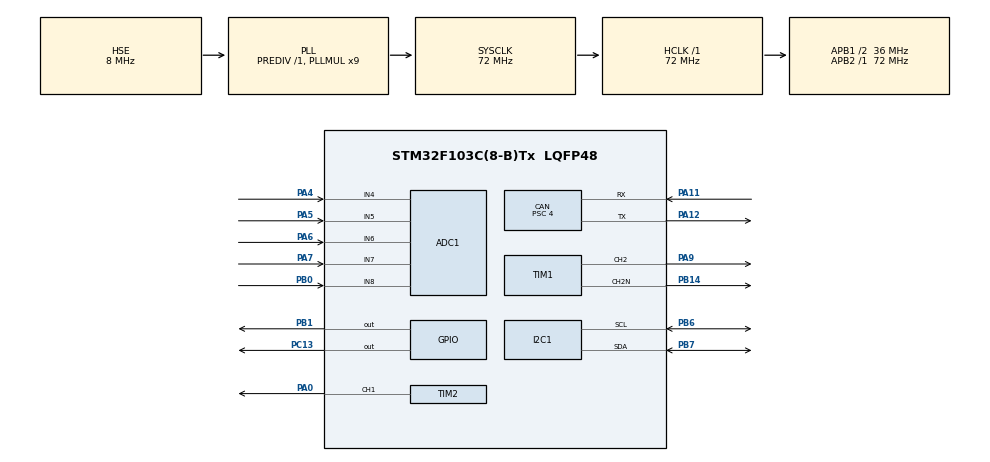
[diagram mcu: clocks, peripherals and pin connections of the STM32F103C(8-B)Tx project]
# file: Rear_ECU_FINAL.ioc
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ADC1.Channel-0\#ChannelRegularConversion=ADC_CHANNEL_4
ADC1.Channel-1\#ChannelRegularConversion=ADC_CHANNEL_4
ADC1.Channel-2\#ChannelRegularConversion=ADC_CHANNEL_4
ADC1.Channel-3\#ChannelRegularConversion=ADC_CHANNEL_4
ADC1.Channel-4\#ChannelRegularConversion=ADC_CHANNEL_4
ADC1.NbrOfConversion=5
ADC1.NbrOfConversionFlag=1
ADC1.Rank-0\#ChannelRegularConversion=1
ADC1.Rank-1\#ChannelRegularConversion=2
ADC1.Rank-2\#ChannelRegularConversion=3
ADC1.Rank-3\#ChannelRegularConversion=4
ADC1.Rank-4\#ChannelRegularConversion=5
ADC1.SamplingTime-0\#ChannelRegularConversion=ADC_SAMPLETIME_1CYCLE_5
ADC1.SamplingTime-1\#ChannelRegularConversion=ADC_SAMPLETIME_1CYCLE_5
ADC1.SamplingTime-2\#ChannelRegularConversion=ADC_SAMPLETIME_1CYCLE_5
ADC1.SamplingTime-3\#ChannelRegularConversion=ADC_SAMPLETIME_1CYCLE_5
ADC1.SamplingTime-4\#ChannelRegularConversion=ADC_SAMPLETIME_1CYCLE_5
ADC1.master=1
CAN.BS1=CAN_BS1_15TQ
CAN.BS2=CAN_BS2_2TQ
CAN.CalculateBaudRate=500000
CAN.CalculateTimeBit=2000
CAN.CalculateTimeQuantum=111.11111111111111
CAN.Prescaler=4
Dma.I2C1_RX.0.Direction=DMA_PERIPH_TO_MEMORY
Dma.I2C1_RX.0.Instance=DMA1_Channel7
Dma.I2C1_RX.0.MemDataAlignment=DMA_MDATAALIGN_BYTE
Dma.I2C1_RX.0.MemInc=DMA_MINC_ENABLE
Dma.I2C1_RX.0.Mode=DMA_NORMAL
Dma.I2C1_RX.0.PeriphDataAlignment=DMA_PDATAALIGN_BYTE
Dma.I2C1_RX.0.PeriphInc=DMA_PINC_DISABLE
Dma.I2C1_RX.0.Priority=DMA_PRIORITY_LOW
Dma.I2C1_TX.1.Direction=DMA_MEMORY_TO_PERIPH
Dma.I2C1_TX.1.Instance=DMA1_Channel6
Dma.I2C1_TX.1.MemDataAlignment=DMA_MDATAALIGN_BYTE
Dma.I2C1_TX.1.MemInc=DMA_MINC_ENABLE
Dma.I2C1_TX.1.Mode=DMA_NORMAL
Dma.I2C1_TX.1.PeriphDataAlignment=DMA_PDATAALIGN_BYTE
Dma.I2C1_TX.1.PeriphInc=DMA_PINC_DISABLE
Dma.I2C1_TX.1.Priority=DMA_PRIORITY_LOW
Dma.Request0=I2C1_RX
Dma.Request1=I2C1_TX
Mcu.Family=STM32F1
Mcu.Name=STM32F103C(8-B)Tx
Mcu.Package=LQFP48
NVIC.DMA1_Channel6_IRQn=true\:0\:0\:false\:false\:true\:false\:true\:true
NVIC.DMA1_Channel7_IRQn=true\:0\:0\:false\:false\:true\:false\:true\:true
NVIC.PriorityGroup=NVIC_PRIORITYGROUP_4
PA0-WKUP.Signal=S_TIM2_CH1_ETR
PA11.Mode=CAN_Activate
PA11.Signal=CAN_RX
PA12.Mode=CAN_Activate
PA12.Signal=CAN_TX
PA13.Mode=Serial_Wire
PA13.Signal=SYS_JTMS-SWDIO
PA14.Mode=Serial_Wire
PA14.Signal=SYS_JTCK-SWCLK
PA4.Signal=ADCx_IN4
PA5.Signal=ADCx_IN5
PA6.Signal=ADCx_IN6
PA7.Signal=ADCx_IN7
PA9.Signal=S_TIM1_CH2
PB0.Signal=ADCx_IN8
PB1.Signal=GPIO_Output
PB14.Mode=PWM Generation2 CH2 CH2N
PB14.Signal=TIM1_CH2N
PB6.Mode=I2C
PB6.Signal=I2C1_SCL
PB7.Mode=I2C
PB7.Signal=I2C1_SDA
PC13-TAMPER-RTC.Signal=GPIO_Output
PD0-OSC_IN.Mode=HSE-External-Oscillator
PD0-OSC_IN.Signal=RCC_OSC_IN
PD1-OSC_OUT.Mode=HSE-External-Oscillator
PD1-OSC_OUT.Signal=RCC_OSC_OUT
ProjectManager.HeapSize=0x200
ProjectManager.StackSize=0x400
ProjectManager.TargetToolchain=STM32CubeIDE
RCC.ADCPresc=RCC_ADCPCLK2_DIV6
RCC.AHBFreq_Value=72000000
RCC.APB1CLKDivider=RCC_HCLK_DIV2
RCC.APB1Freq_Value=36000000
RCC.APB1TimFreq_Value=72000000
RCC.APB2Freq_Value=72000000
RCC.APB2TimFreq_Value=72000000
RCC.HCLKFreq_Value=72000000
RCC.PLLMUL=RCC_PLL_MUL9
RCC.PLLSourceVirtual=RCC_PLLSOURCE_HSE
RCC.SYSCLKFreq_VALUE=72000000
RCC.SYSCLKSource=RCC_SYSCLKSOURCE_PLLCLK
RCC.USBFreq_Value=72000000
SH.ADCx_IN4.0=ADC1_IN4,IN4
SH.ADCx_IN5.0=ADC1_IN5,IN5
SH.ADCx_IN6.0=ADC1_IN6,IN6
SH.ADCx_IN7.0=ADC1_IN7,IN7
SH.ADCx_IN8.0=ADC1_IN8,IN8
SH.S_TIM1_CH2.0=TIM1_CH2,PWM Generation2 CH2 CH2N
SH.S_TIM2_CH1_ETR.0=TIM2_CH1,PWM Generation1 CH1
TIM1.Channel-PWM\ Generation2\ CH2\ CH2N=TIM_CHANNEL_2
TIM2.Channel-PWM\ Generation1\ CH1=TIM_CHANNEL_1
board=custom

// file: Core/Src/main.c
/* USER CODE BEGIN Header */
/**
  ******************************************************************************
  * @file           : main.c
  * @brief          : Main program body
  ******************************************************************************
  * @attention
  *
  * Copyright (c) 2026 STMicroelectronics.
  * All rights reserved.
  *
  * This software is licensed under terms that can be found in the LICENSE file
  * in the root directory of this software component.
  * If no LICENSE file comes with this software, it is provided AS-IS.
  *
  ******************************************************************************
  */
/* USER CODE END Header */
#include "main.h"
#include <math.h>

/* USER CODE BEGIN PD */
//===============I2C=========
#define MPU6050_ADDR   (0x68 << 1)  // HAL wants 8-bit address
#define PWR_MGMT_1     0x6B
#define SMPLRT_DIV     0x19
#define CONFIG_REG     0x1A
#define GYRO_CONFIG    0x1B
#define ACCEL_CONFIG   0x1C
#define WHO_AM_I       0x75
#define ACCEL_XOUT_H   0x3B

#define MLX90614_ADDR1   (0x5A << 1)  // HAL wants 8-bit address
#define MLX90614_ADDR2   (0x5B << 1)
#define MLX90614_TA      0x06         // ambient temp
#define MLX90614_TOBJ1   0x07
//===============I2C=========

//================Thermals=============
#define ADC_BUFF_SIZE 5
#define ADC_BRAKE_INDEX 0

#define Brake_pedal_threshold 150

#define ADC_THERM1_INDEX 1
#define ADC_THERM2_INDEX 2
#define ADC_THERM3_INDEX 3
#define ADC_THERM4_INDEX 4
#define ADC_MAX_VAL 4095      // 12-bit ADC resolution
#define TEMP_MAX_VAL 100.0f      // Max expected stator temp in degrees
#define MDOT_MAX_VAL 0.267f      // Max mass flow rate in kg/s
#define PWM_PERIOD 59999       // PWM Period
#define Table_Size 10
//===============Thermals============
/* USER CODE END PD */

ADC_HandleTypeDef hadc1;

CAN_HandleTypeDef hcan;

I2C_HandleTypeDef hi2c1;
DMA_HandleTypeDef hdma_i2c1_rx;
DMA_HandleTypeDef hdma_i2c1_tx;

TIM_HandleTypeDef htim1;
TIM_HandleTypeDef htim2;

/* USER CODE BEGIN PV */
//===============================I2C=================
int16_t mpu_buf[6];
float temp_ambient1, temp_obj1;
float temp_ambient2, temp_obj2;
//===============================I2C=================

//=============CAN==================

CAN_TxHeaderTypeDef TxHeader;
CAN_RxHeaderTypeDef RxHeader;
uint8_t TxData[8];
uint8_t RxData[8];
uint32_t TxMailbox;
volatile uint32_t echo_count = 0;
volatile uint16_t rpm=0, speed=0;
uint16_t arr_rpm=0;
uint16_t ccr_speed=0;
uint16_t arr_speed=0;
uint16_t ccr_rpm=0;

//====================CAN===========

//Thermals==============================
uint16_t adc_buff[ADC_BUFF_SIZE];
volatile uint16_t adc_val=0;
float voltage=0.0f;
float temp[4];

const float temp_breakpoints[Table_Size] = {0, 50, 55, 60, 65, 70, 75, 80, 85, 90};
const float mdot_data[Table_Size] = {0, 0.005, 0.01, 0.03, 0.06, 0.08, 0.1, 0.1, 0.15, 0.15};

// --- GLOBAL VARIABLES ---
volatile uint32_t adc_raw_value = 0;
float stator_temp = 0.0f;
float target_mdot = 0.0f;
uint32_t pwm_duty_cycle = 0;
//Thermals==========================

/* USER CODE END PV */

void SystemClock_Config(void);
static void MX_GPIO_Init(void);
static void MX_DMA_Init(void);
static void MX_CAN_Init(void);
static void MX_I2C1_Init(void);
static void MX_ADC1_Init(void);
static void MX_TIM1_Init(void);
static void MX_TIM2_Init(void);
/* USER CODE BEGIN PFP */

//===============================I2C=================
void MPU6050_ReadAll(I2C_HandleTypeDef *hi2c, int16_t *ax, int16_t *ay, int16_t *az,
                      int16_t *gx, int16_t *gy, int16_t *gz) {
    uint8_t buf[14];
    HAL_I2C_Mem_Read(hi2c, MPU6050_ADDR, ACCEL_XOUT_H, 1, buf, 14, 100);

    *ax = (int16_t)(buf[0]  << 8 | buf[1]);
    *ay = (int16_t)(buf[2]  << 8 | buf[3]);
    *az = (int16_t)(buf[4]  << 8 | buf[5]);
    // buf[6],buf[7] = temperature, skip or parse separately
    *gx = (int16_t)(buf[8]  << 8 | buf[9]);
    *gy = (int16_t)(buf[10] << 8 | buf[11]);
    *gz = (int16_t)(buf[12] << 8 | buf[13]);
}

void MPU6050_Init(I2C_HandleTypeDef *hi2c) {
    uint8_t check, data;

    // Verify device is alive — should read 0x68
    HAL_I2C_Mem_Read(hi2c, MPU6050_ADDR, WHO_AM_I, 1, &check, 1, 100);

    if (check == 0x68) {
        // Wake up: clear sleep bit, select internal 8MHz clock
        data = 0x00;
        HAL_I2C_Mem_Write(hi2c, MPU6050_ADDR, PWR_MGMT_1, 1, &data, 1, 100);

        // Sample rate divider: 1kHz / (1 + 7) = 125Hz
        data = 0x07;
        HAL_I2C_Mem_Write(hi2c, MPU6050_ADDR, SMPLRT_DIV, 1, &data, 1, 100);

        // Accel config: ±2g
        data = 0x00;
        HAL_I2C_Mem_Write(hi2c, MPU6050_ADDR, ACCEL_CONFIG, 1, &data, 1, 100);

        // Gyro config: ±250°/s
        data = 0x00;
        HAL_I2C_Mem_Write(hi2c, MPU6050_ADDR, GYRO_CONFIG, 1, &data, 1, 100);
    }
}

/* USER CODE BEGIN 0 */

// returns 1 on success, 0 on I2C error
uint8_t MLX90614_ReadTemp(I2C_HandleTypeDef *hi2c, uint8_t addr, uint8_t reg, float *temp_c) {
    uint8_t buf[3];  // data_low, data_high, PEC

    if (HAL_I2C_Mem_Read(hi2c, addr, reg, 1, buf, 3, 100) != HAL_OK) {
        return 0;
    }

    uint16_t raw = (uint16_t)(buf[1] << 8 | buf[0]);

    // MSB of high byte is an error flag on some regs — mask it off
    raw &= 0x7FFF;

    *temp_c = (raw * 0.02f) - 273.15f;
    return 1;
}

//===============================I2C=================

//===============CAN======================
static void CAN_Filter_Config(void)
{
CAN_FilterTypeDef sFilterConfig;
sFilterConfig.FilterBank = 0;
sFilterConfig.FilterMode = CAN_FILTERMODE_IDMASK;
sFilterConfig.FilterScale = CAN_FILTERSCALE_32BIT;
sFilterConfig.FilterIdHigh = 0x0000;
sFilterConfig.FilterIdLow = 0x0000;
sFilterConfig.FilterMaskIdHigh = 0x0000;
sFilterConfig.FilterMaskIdLow = 0x0000;
sFilterConfig.FilterFIFOAssignment = CAN_RX_FIFO0;
sFilterConfig.FilterActivation = ENABLE;
if (HAL_CAN_ConfigFilter(&hcan, &sFilterConfig) != HAL_OK) Error_Handler();
}
void HAL_CAN_RxFifo0MsgPendingCallback(CAN_HandleTypeDef *canHandle) {
    if (HAL_CAN_GetRxMessage(canHandle, CAN_RX_FIFO0, &RxHeader, RxData) == HAL_OK) {

        // Ensure it's an Extended ID
        if (RxHeader.IDE == CAN_ID_EXT) {

            // Sniff Motor Controller Data
            if (RxHeader.ExtId == 0x18FF2803) {
                // Parse AC Current / Voltage
            }
            else if (RxHeader.ExtId == 0x18FF2D03) {
                            // Parse incoming DC-Link Voltage
                            uint16_t dc_link_volts = (RxData[0] << 8) | RxData[1];

                            // Evaluate electrical power balance to set limits
                            // Example: Max limit is current DC-Link + 20V, Min is DC-Link - 20V
                            uint16_t max_batt_volts = dc_link_volts + 20;
                            uint16_t min_batt_volts = dc_link_volts - 20;

                            CAN_TxHeaderTypeDef RespHeader;
                            RespHeader.ExtId = 0x0CFF3A27; // Max/Min Battery Voltage ID
                            RespHeader.IDE = CAN_ID_EXT;
                            RespHeader.RTR = CAN_RTR_DATA;
                            RespHeader.DLC = 8;

                            uint8_t RespData[8] = {0};

                            // Pack Byte 1 & 2: Max Battery Voltage
                            RespData[0] = (max_batt_volts >> 8) & 0xFF;
                            RespData[1] = max_batt_volts & 0xFF;

                            // Pack Byte 3 & 4: Min Battery Voltage
                            RespData[2] = (min_batt_volts >> 8) & 0xFF;
                            RespData[3] = min_batt_volts & 0xFF;

                            // Remaining bytes stay 0x00 as per matrix

                            HAL_CAN_AddTxMessage(&hcan, &RespHeader, RespData, &TxMailbox);
                        }
        }
    }
}
//===============CAN========================

//---------------thermal------------
//Lookup Table Interpolation
float mdot_from_temp(float input_temp) {
	if (input_temp <= temp_breakpoints[0]) {
		return mdot_data[0];
	}
	if (input_temp >= temp_breakpoints[Table_Size - 1]) {
		return mdot_data[Table_Size - 1];
	}
	int i = 0;
	while (temp_breakpoints[i + 1] < input_temp) {
		i++;
	}

	float x0 = temp_breakpoints[i];
	float x1 = temp_breakpoints[i + 1];
	float y0 = mdot_data[i];
	float y1 = mdot_data[i + 1];

	return y0 + ((input_temp - x0) * ((y1 - y0) / (x1 - x0)));
}

// Map Flow Rate to PWM
uint32_t calculate_pwm_duty(float flow_rate) {
	if (flow_rate > MDOT_MAX_VAL) {
		flow_rate = MDOT_MAX_VAL;
	}
	if (flow_rate < 0.0f) {
		flow_rate = 0.0f;
	}
	return (uint32_t) ((flow_rate / MDOT_MAX_VAL) * PWM_PERIOD);
}

 float therm_to_temp(uint16_t adc_value){

	 float voltage = ((float) adc_value * 3.3) / 4095.0f;
	 if (voltage >= 3.29f)
	 {

	 voltage = 3.29f;
	 }
	 float resistance = (voltage * 10000.0f) / (3.3f - voltage) ;
	 float temperature = (-31.19 * logf (resistance)) + 313.73f;
	 return temperature;
 }
//------------thermal--------------------
/* USER CODE END PFP */

int main(void)
{

  /* MCU Configuration--------------------------------------------------------*/

  /* Reset of all peripherals, Initializes the Flash interface and the Systick. */
  HAL_Init();

  /* Configure the system clock */
  SystemClock_Config();

  /* Initialize all configured peripherals */
  MX_GPIO_Init();
  MX_DMA_Init();
  MX_CAN_Init();
  MX_I2C1_Init();
  MX_ADC1_Init();
  /* USER CODE BEGIN 2 */
  MPU6050_Init(&hi2c1);
  /* USER CODE END 2 */
  //=====================CAN==========================
   MX_TIM1_Init();
   TIM1->CCR1 = 0;
   HAL_TIM_PWM_Start(&htim1,TIM_CHANNEL_1);

   MX_TIM2_Init();
   TIM2->CCR1 = 0;
   HAL_TIM_PWM_Start(&htim2,TIM_CHANNEL_1);
   CAN_Filter_Config();
     if (HAL_CAN_Start(&hcan) != HAL_OK) Error_Handler();
       if (HAL_CAN_ActivateNotification(&hcan, CAN_IT_RX_FIFO0_MSG_PENDING) != HAL_OK) Error_Handler();

       TxHeader.DLC=8;
         TxHeader.IDE=CAN_ID_EXT;
         TxHeader.RTR=CAN_RTR_DATA;
     		        TxHeader.TransmitGlobalTime = DISABLE;

 //======================CAN============================

//Thermals=====================================
       HAL_ADCEx_Calibration_Start(&hadc1);
       __HAL_RCC_AFIO_CLK_ENABLE();
       //	__HAL_AFIO_REMAP_TIM1_PARTIAL();
       HAL_ADC_Start_DMA(&hadc1, (uint32_t*)adc_buff, ADC_BUFF_SIZE);
       HAL_TIM_PWM_Start(&htim1,TIM_CHANNEL_2);
       //HAL_TIMEx_PWMN_Start(&htim1, TIM_CHANNEL_2);
       __HAL_TIM_MOE_ENABLE(&htim1);
//Thermals=====================================
  /* Infinite loop */
  while (1)
  {
		 //------------ Brake light -----------------

		 	  				adc_val = adc_buff[ADC_BRAKE_INDEX];
		 	  				voltage = ((float) adc_val * 3.3) / 4095.0f;
		 	  				if (adc_val > Brake_pedal_threshold) {
		 	  					HAL_GPIO_WritePin(GPIOB, GPIO_PIN_1, GPIO_PIN_SET);
		 	  				} else {
		 	  					HAL_GPIO_WritePin(GPIOB, GPIO_PIN_1, GPIO_PIN_RESET);
		 	  				}
		 	  				HAL_Delay(5);
		 //---------------brake light --------------------------

	  //===============================I2C=================
	  MPU6050_ReadAll(&hi2c1,&mpu_buf[0],&mpu_buf[1],&mpu_buf[2],&mpu_buf[3],&mpu_buf[4],&mpu_buf[5]);

	 	  MLX90614_ReadTemp(&hi2c1, MLX90614_ADDR1, MLX90614_TA,    &temp_ambient1);
	 	  	  MLX90614_ReadTemp(&hi2c1, MLX90614_ADDR1, MLX90614_TOBJ1, &temp_obj1);
	 	  	  MLX90614_ReadTemp(&hi2c1, MLX90614_ADDR2, MLX90614_TA,    &temp_ambient2);
	 	  	  MLX90614_ReadTemp(&hi2c1, MLX90614_ADDR2, MLX90614_TOBJ1, &temp_obj2);
	 	  	  HAL_Delay(1000);
	 		  //===============================I2C=================

	 //=========================CAN=================================
	 	  	TxHeader.ExtId = 0x18FA2803;
	 	  		      uint8_t Data_Thermal[8] = {0x11, 0x11, 0x22, 0x22, 0x00, 0x00, 0x00, 0x00};
	 	  		      HAL_CAN_AddTxMessage(&hcan, &TxHeader, Data_Thermal, &TxMailbox);
	 	  		      HAL_Delay(1);

	 	  		      // Send Brake Pressure
	 	  		      TxHeader.ExtId = 0x18FA2903;
	 	  		      uint8_t Data_Brake[8] = {0xAA, 0xBB, 0x00, 0x00, 0xCC, 0xDD, 0x00, 0x00};
	 	  		      HAL_CAN_AddTxMessage(&hcan, &TxHeader, Data_Brake, &TxMailbox);
	 	  		      HAL_Delay(1);
	 //=======================CAN======================================

	 //---------------thermal---------------------

	 	  				// READ SENSOR
	 	  				float temp_1 = therm_to_temp(adc_buff[ADC_THERM1_INDEX]);
	 	  				float temp_2 = therm_to_temp(adc_buff[ADC_THERM2_INDEX]);
	 	  				float temp_3 = therm_to_temp(adc_buff[ADC_THERM3_INDEX]);
	 	  				float temp_4 = therm_to_temp(adc_buff[ADC_THERM4_INDEX]);
	 	  				temp[0]=temp_1;
	 	  				temp[1]=temp_2;
	 	  				temp[2]=temp_3;
	 	  				temp[3]=temp_4;
	 	  				stator_temp = temp_1;
	 	  				if (temp_2 > stator_temp) {
	 	  					stator_temp = temp_2;
	 	  				}
	 	  				if (temp_3 > stator_temp) {
	 	  					stator_temp = temp_3;
	 	  				}
	 	  				if (temp_4 > stator_temp) {
	 	  					stator_temp = temp_4;
	 	  				}

	 	  				// LOGIC (Lookup Table)
	 	  				target_mdot = mdot_from_temp(stator_temp);

	 	  				// PWM generation
	 	  				pwm_duty_cycle = calculate_pwm_duty(target_mdot);
	 	  				__HAL_TIM_SET_COMPARE(&htim1, TIM_CHANNEL_2, pwm_duty_cycle);
	 	//------------------thermal------------
	 	  			}
    /* USER CODE BEGIN 3 */
  }

void SystemClock_Config(void)
{
  RCC_OscInitTypeDef RCC_OscInitStruct = {0};
  RCC_ClkInitTypeDef RCC_ClkInitStruct = {0};
  RCC_PeriphCLKInitTypeDef PeriphClkInit = {0};

  /** Initializes the RCC Oscillators according to the specified parameters
  * in the RCC_OscInitTypeDef structure.
  */
  RCC_OscInitStruct.OscillatorType = RCC_OSCILLATORTYPE_HSE;
  RCC_OscInitStruct.HSEState = RCC_HSE_ON;
  RCC_OscInitStruct.HSEPredivValue = RCC_HSE_PREDIV_DIV1;
  RCC_OscInitStruct.HSIState = RCC_HSI_ON;
  RCC_OscInitStruct.PLL.PLLState = RCC_PLL_ON;
  RCC_OscInitStruct.PLL.PLLSource = RCC_PLLSOURCE_HSE;
  RCC_OscInitStruct.PLL.PLLMUL = RCC_PLL_MUL9;
  if (HAL_RCC_OscConfig(&RCC_OscInitStruct) != HAL_OK)
  {
    Error_Handler();
  }

  /** Initializes the CPU, AHB and APB buses clocks
  */
  RCC_ClkInitStruct.ClockType = RCC_CLOCKTYPE_HCLK|RCC_CLOCKTYPE_SYSCLK
                              |RCC_CLOCKTYPE_PCLK1|RCC_CLOCKTYPE_PCLK2;
  RCC_ClkInitStruct.SYSCLKSource = RCC_SYSCLKSOURCE_PLLCLK;
  RCC_ClkInitStruct.AHBCLKDivider = RCC_SYSCLK_DIV1;
  RCC_ClkInitStruct.APB1CLKDivider = RCC_HCLK_DIV2;
  RCC_ClkInitStruct.APB2CLKDivider = RCC_HCLK_DIV1;

  if (HAL_RCC_ClockConfig(&RCC_ClkInitStruct, FLASH_LATENCY_2) != HAL_OK)
  {
    Error_Handler();
  }
  PeriphClkInit.PeriphClockSelection = RCC_PERIPHCLK_ADC;
  PeriphClkInit.AdcClockSelection = RCC_ADCPCLK2_DIV6;
  if (HAL_RCCEx_PeriphCLKConfig(&PeriphClkInit) != HAL_OK)
  {
    Error_Handler();
  }
}

static void MX_ADC1_Init(void)
{

  ADC_ChannelConfTypeDef sConfig = {0};

  /** Common config
  */
  hadc1.Instance = ADC1;
  hadc1.Init.ScanConvMode = ADC_SCAN_ENABLE;
  hadc1.Init.ContinuousConvMode = DISABLE;
  hadc1.Init.DiscontinuousConvMode = DISABLE;
  hadc1.Init.ExternalTrigConv = ADC_SOFTWARE_START;
  hadc1.Init.DataAlign = ADC_DATAALIGN_RIGHT;
  hadc1.Init.NbrOfConversion = 5;
  if (HAL_ADC_Init(&hadc1) != HAL_OK)
  {
    Error_Handler();
  }

  /** Configure Regular Channel
  */
  sConfig.Channel = ADC_CHANNEL_0;
  sConfig.Rank = ADC_REGULAR_RANK_1;
  sConfig.SamplingTime = ADC_SAMPLETIME_1CYCLE_5;
  if (HAL_ADC_ConfigChannel(&hadc1, &sConfig) != HAL_OK)
  {
    Error_Handler();
  }

  /** Configure Regular Channel
  */
  sConfig.Rank = ADC_REGULAR_RANK_4;
  if (HAL_ADC_ConfigChannel(&hadc1, &sConfig) != HAL_OK)
  {
    Error_Handler();
  }

  /** Configure Regular Channel
  */
  sConfig.Rank = ADC_REGULAR_RANK_5;
  if (HAL_ADC_ConfigChannel(&hadc1, &sConfig) != HAL_OK)
  {
    Error_Handler();
  }

  /** Configure Regular Channel
  */
  sConfig.Rank = ADC_REGULAR_RANK_6;
  if (HAL_ADC_ConfigChannel(&hadc1, &sConfig) != HAL_OK)
  {
    Error_Handler();
  }

  /** Configure Regular Channel
  */
  sConfig.Rank = ADC_REGULAR_RANK_7;
  if (HAL_ADC_ConfigChannel(&hadc1, &sConfig) != HAL_OK)
  {
    Error_Handler();
  }

}

static void MX_CAN_Init(void)
{

  hcan.Instance = CAN1;
  hcan.Init.Prescaler = 4;
  hcan.Init.Mode = CAN_MODE_NORMAL;
  hcan.Init.SyncJumpWidth = CAN_SJW_1TQ;
  hcan.Init.TimeSeg1 = CAN_BS1_15TQ;
  hcan.Init.TimeSeg2 = CAN_BS2_2TQ;
  hcan.Init.TimeTriggeredMode = DISABLE;
  hcan.Init.AutoBusOff = DISABLE;
  hcan.Init.AutoWakeUp = DISABLE;
  hcan.Init.AutoRetransmission = DISABLE;
  hcan.Init.ReceiveFifoLocked = DISABLE;
  hcan.Init.TransmitFifoPriority = DISABLE;
  if (HAL_CAN_Init(&hcan) != HAL_OK)
  {
    Error_Handler();
  }

}

static void MX_I2C1_Init(void)
{

  hi2c1.Instance = I2C1;
  hi2c1.Init.ClockSpeed = 100000;
  hi2c1.Init.DutyCycle = I2C_DUTYCYCLE_2;
  hi2c1.Init.OwnAddress1 = 0;
  hi2c1.Init.AddressingMode = I2C_ADDRESSINGMODE_7BIT;
  hi2c1.Init.DualAddressMode = I2C_DUALADDRESS_DISABLE;
  hi2c1.Init.OwnAddress2 = 0;
  hi2c1.Init.GeneralCallMode = I2C_GENERALCALL_DISABLE;
  hi2c1.Init.NoStretchMode = I2C_NOSTRETCH_DISABLE;
  if (HAL_I2C_Init(&hi2c1) != HAL_OK)
  {
    Error_Handler();
  }

}

static void MX_TIM1_Init(void)
{

  TIM_MasterConfigTypeDef sMasterConfig = {0};
  TIM_OC_InitTypeDef sConfigOC = {0};
  TIM_BreakDeadTimeConfigTypeDef sBreakDeadTimeConfig = {0};

  htim1.Instance = TIM1;
  htim1.Init.Prescaler = 0;
  htim1.Init.CounterMode = TIM_COUNTERMODE_UP;
  htim1.Init.Period = 65535;
  htim1.Init.ClockDivision = TIM_CLOCKDIVISION_DIV1;
  htim1.Init.RepetitionCounter = 0;
  htim1.Init.AutoReloadPreload = TIM_AUTORELOAD_PRELOAD_DISABLE;
  if (HAL_TIM_PWM_Init(&htim1) != HAL_OK)
  {
    Error_Handler();
  }
  sMasterConfig.MasterOutputTrigger = TIM_TRGO_RESET;
  sMasterConfig.MasterSlaveMode = TIM_MASTERSLAVEMODE_DISABLE;
  if (HAL_TIMEx_MasterConfigSynchronization(&htim1, &sMasterConfig) != HAL_OK)
  {
    Error_Handler();
  }
  sConfigOC.OCMode = TIM_OCMODE_PWM1;
  sConfigOC.Pulse = 0;
  sConfigOC.OCPolarity = TIM_OCPOLARITY_HIGH;
  sConfigOC.OCNPolarity = TIM_OCNPOLARITY_HIGH;
  sConfigOC.OCFastMode = TIM_OCFAST_DISABLE;
  sConfigOC.OCIdleState = TIM_OCIDLESTATE_RESET;
  sConfigOC.OCNIdleState = TIM_OCNIDLESTATE_RESET;
  if (HAL_TIM_PWM_ConfigChannel(&htim1, &sConfigOC, TIM_CHANNEL_2) != HAL_OK)
  {
    Error_Handler();
  }
  sBreakDeadTimeConfig.OffStateRunMode = TIM_OSSR_DISABLE;
  sBreakDeadTimeConfig.OffStateIDLEMode = TIM_OSSI_DISABLE;
  sBreakDeadTimeConfig.LockLevel = TIM_LOCKLEVEL_OFF;
  sBreakDeadTimeConfig.DeadTime = 0;
  sBreakDeadTimeConfig.BreakState = TIM_BREAK_DISABLE;
  sBreakDeadTimeConfig.BreakPolarity = TIM_BREAKPOLARITY_HIGH;
  sBreakDeadTimeConfig.AutomaticOutput = TIM_AUTOMATICOUTPUT_DISABLE;
  if (HAL_TIMEx_ConfigBreakDeadTime(&htim1, &sBreakDeadTimeConfig) != HAL_OK)
  {
    Error_Handler();
  }
  /* USER CODE BEGIN TIM1_Init 2 */
  if( HAL_TIM_PWM_ConfigChannel(&htim1, &sConfigOC, TIM_CHANNEL_1) != HAL_OK)
   {
     Error_Handler();
   }
  /* USER CODE END TIM1_Init 2 */
  HAL_TIM_MspPostInit(&htim1);

}

static void MX_TIM2_Init(void)
{

  TIM_MasterConfigTypeDef sMasterConfig = {0};
  TIM_OC_InitTypeDef sConfigOC = {0};

  htim2.Instance = TIM2;
  htim2.Init.Prescaler = 0;
  htim2.Init.CounterMode = TIM_COUNTERMODE_UP;
  htim2.Init.Period = 65535;
  htim2.Init.ClockDivision = TIM_CLOCKDIVISION_DIV1;
  htim2.Init.AutoReloadPreload = TIM_AUTORELOAD_PRELOAD_DISABLE;
  if (HAL_TIM_PWM_Init(&htim2) != HAL_OK)
  {
    Error_Handler();
  }
  sMasterConfig.MasterOutputTrigger = TIM_TRGO_RESET;
  sMasterConfig.MasterSlaveMode = TIM_MASTERSLAVEMODE_DISABLE;
  if (HAL_TIMEx_MasterConfigSynchronization(&htim2, &sMasterConfig) != HAL_OK)
  {
    Error_Handler();
  }
  sConfigOC.OCMode = TIM_OCMODE_PWM1;
  sConfigOC.Pulse = 0;
  sConfigOC.OCPolarity = TIM_OCPOLARITY_HIGH;
  sConfigOC.OCFastMode = TIM_OCFAST_DISABLE;
  if (HAL_TIM_PWM_ConfigChannel(&htim2, &sConfigOC, TIM_CHANNEL_1) != HAL_OK)
  {
    Error_Handler();
  }
  HAL_TIM_MspPostInit(&htim2);

}

static void MX_DMA_Init(void)
{

  /* DMA controller clock enable */
  __HAL_RCC_DMA1_CLK_ENABLE();

  /* DMA interrupt init */
  /* DMA1_Channel6_IRQn interrupt configuration */
  HAL_NVIC_SetPriority(DMA1_Channel6_IRQn, 0, 0);
  HAL_NVIC_EnableIRQ(DMA1_Channel6_IRQn);
  /* DMA1_Channel7_IRQn interrupt configuration */
  HAL_NVIC_SetPriority(DMA1_Channel7_IRQn, 0, 0);
  HAL_NVIC_EnableIRQ(DMA1_Channel7_IRQn);

}

static void MX_GPIO_Init(void)
{
  GPIO_InitTypeDef GPIO_InitStruct = {0};

  /* GPIO Ports Clock Enable */
  __HAL_RCC_GPIOC_CLK_ENABLE();
  __HAL_RCC_GPIOD_CLK_ENABLE();
  __HAL_RCC_GPIOA_CLK_ENABLE();
  __HAL_RCC_GPIOB_CLK_ENABLE();

  /*Configure GPIO pin Output Level */
  HAL_GPIO_WritePin(GPIOC, GPIO_PIN_13, GPIO_PIN_RESET);

  /*Configure GPIO pin Output Level */
  HAL_GPIO_WritePin(GPIOB, GPIO_PIN_1, GPIO_PIN_RESET);

  /*Configure GPIO pin : PC13 */
  GPIO_InitStruct.Pin = GPIO_PIN_13;
  GPIO_InitStruct.Mode = GPIO_MODE_OUTPUT_PP;
  GPIO_InitStruct.Pull = GPIO_NOPULL;
  GPIO_InitStruct.Speed = GPIO_SPEED_FREQ_LOW;
  HAL_GPIO_Init(GPIOC, &GPIO_InitStruct);

  /*Configure GPIO pin : PB1 */
  GPIO_InitStruct.Pin = GPIO_PIN_1;
  GPIO_InitStruct.Mode = GPIO_MODE_OUTPUT_PP;
  GPIO_InitStruct.Pull = GPIO_NOPULL;
  GPIO_InitStruct.Speed = GPIO_SPEED_FREQ_LOW;
  HAL_GPIO_Init(GPIOB, &GPIO_InitStruct);

}

void Error_Handler(void)
{
  __disable_irq();
  while (1)
  {
  }
}
